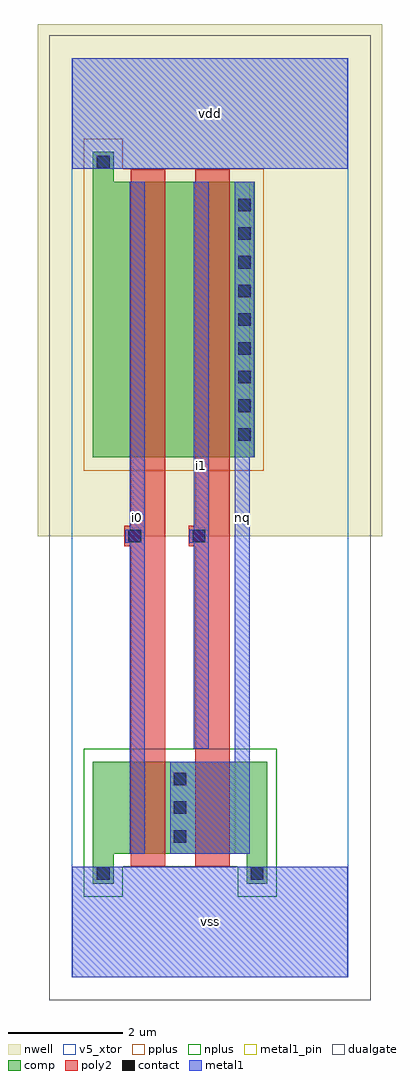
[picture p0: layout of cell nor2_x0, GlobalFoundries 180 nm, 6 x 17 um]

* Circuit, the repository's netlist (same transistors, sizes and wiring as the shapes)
* nor2_x0
.subckt nor2_x0 vdd vss nq i0 i1
Mn0 vss i0 nq vss nfet_06v0 l=0.6um w=1.6um
Mp0 vdd i0 int0 vdd pfet_06v0 l=0.6um w=4.8um
Mn1 nq i1 vss vss nfet_06v0 l=0.6um w=1.6um
Mp1 int0 i1 nq vdd pfet_06v0 l=0.6um w=4.8um
.ends nor2_x0

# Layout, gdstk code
import gdstk
lib = gdstk.Library(unit=1e-6, precision=1e-09)
def R(c, l, rs):  # rectangles x0, y0, x1, y1
    for r in rs: c.add(gdstk.rectangle(r[:2], r[2:], *l))
def A(c, l, x, y, w, h, nx, ny, dx, dy):  # array of equal rectangles
    R(c, l, [(x+i*dx, y+j*dy, x+i*dx+w, y+j*dy+h) for i in range(nx) for j in range(ny)])
def P(c, l, *ps):  # polygons
    for p in ps: c.add(gdstk.Polygon(p, *l))
nwell = (21, 0)
comp = (22, 0)
poly2 = (30, 0)
pplus = (31, 0)
nplus = (32, 0)
contact = (33, 0)
metal1 = (34, 0)
metal1_pin = (34, 10)
dualgate = (55, 0)
v5_xtor = (112, 1)

nor2_x0 = lib.new_cell('nor2_x0')
R(nor2_x0, nwell, [(-0.6,7.68,5.4,16.6)])
P(nor2_x0, comp, [(0.36,1.625),(0.36,3.75),(3.4,3.75),(3.4,1.625),(3.04,1.625),(3.04,2.15),(0.72,2.15),(0.72,1.625)],
  [(0.36,9.05),(0.36,14.375),(0.72,14.375),(0.72,13.85),(3.18,13.85),(3.18,9.05)])
P(nor2_x0, poly2, [(1.02,1.93),(1.02,7.5),(0.91,7.5),(0.91,7.86),(1.02,7.86),(1.02,14.07),(1.62,14.07),(1.62,1.93)],
  [(2.14,1.93),(2.14,7.5),(2.03,7.5),(2.03,7.86),(2.14,7.86),(2.14,14.07),(2.74,14.07),(2.74,1.93)])
P(nor2_x0, pplus, [(0.2,8.82),(0.2,14.605),(0.88,14.605),(0.88,14.08),(3.34,14.08),(3.34,8.82)])
P(nor2_x0, nplus, [(0.2,1.395),(0.2,3.98),(3.56,3.98),(3.56,1.395),(2.88,1.395),(2.88,1.92),(0.88,1.92),(0.88,1.395)])
A(nor2_x0, contact, 1.77, 2.34, 0.22, 0.22, 1, 3, 0, 0.5)
A(nor2_x0, contact, 2.89, 9.34, 0.22, 0.22, 1, 9, 0, 0.5)
R(nor2_x0, contact, [(0.43,1.695,0.65,1.915), (3.11,1.695,3.33,1.915), (0.98,7.57,1.2,7.79), (2.1,7.57,2.32,7.79), (0.43,14.085,0.65,14.305)])
R(nor2_x0, metal1, [(0,0,4.8,1.92), (0,14.08,4.8,16)])
P(nor2_x0, metal1, [(1.71,2.15),(1.71,3.75),(2.83,3.75),(2.83,13.85),(3.17,13.85),(3.17,9.05),(3.09,9.05),(3.09,2.15)],
  [(1,2.15),(1,7.565),(0.92,7.565),(0.92,7.795),(1,7.795),(1,13.85),(1.26,13.85),(1.26,2.15)],
  [(2.12,3.98),(2.12,7.565),(2.04,7.565),(2.04,7.795),(2.12,7.795),(2.12,13.85),(2.38,13.85),(2.38,3.98)])
R(nor2_x0, metal1_pin, [(0,0,4.8,1.92), (1,2.15,1.26,13.85), (2.83,2.15,3.09,13.85), (2.12,3.98,2.38,13.85), (0,14.08,4.8,16)])
R(nor2_x0, dualgate, [(-0.4,-0.4,5.2,16.4)])
R(nor2_x0, v5_xtor, [(-0.005,-0.005,4.805,16.005)])
nor2_x0.add(gdstk.Label('vss', (2.4,0.96), layer=34, texttype=10))
nor2_x0.add(gdstk.Label('vdd', (2.4,15.04), layer=34, texttype=10))
nor2_x0.add(gdstk.Label('nq', (2.96,8), layer=34, texttype=10))
nor2_x0.add(gdstk.Label('i0', (1.13,8), layer=34, texttype=10))
nor2_x0.add(gdstk.Label('i1', (2.25,8.915), layer=34, texttype=10))

lib.write_gds('nor2_x0.gds')
